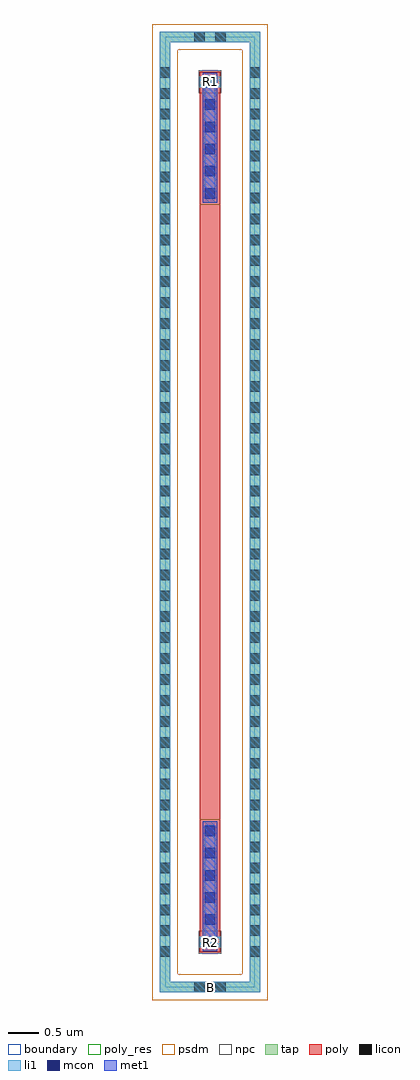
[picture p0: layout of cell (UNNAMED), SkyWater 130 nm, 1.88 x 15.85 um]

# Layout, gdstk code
import gdstk
lib = gdstk.Library(unit=1e-6, precision=1e-09)
def R(c, l, rs):  # rectangles x0, y0, x1, y1
    for r in rs: c.add(gdstk.rectangle(r[:2], r[2:], *l))
def A(c, l, x, y, w, h, nx, ny, dx, dy):  # array of equal rectangles
    R(c, l, [(x+i*dx, y+j*dy, x+i*dx+w, y+j*dy+h) for i in range(nx) for j in range(ny)])
tap = (65, 44)
poly_res = (66, 13)
poly = (66, 20)
licon = (66, 44)
li1 = (67, 20)
mcon = (67, 44)
met1 = (68, 20)
psdm = (94, 20)
npc = (95, 20)
boundary = (235, 4)

c__unnamed_ = lib.new_cell('(UNNAMED)')
R(c__unnamed_, tap, [(-0.815,-7.8,0.815,-7.63), (-0.815,-7.63,-0.645,7.63), (0.645,-7.63,0.815,7.63), (-0.815,7.63,0.815,7.8)])
R(c__unnamed_, poly_res, [(-0.165,-5,0.165,5)])
R(c__unnamed_, poly, [(-0.165,-7.15,0.165,7.15)])
A(c__unnamed_, licon, -0.815, -7.225, 0.17, 0.17, 1, 43, 0, 0.34)
A(c__unnamed_, licon, 0.645, -7.225, 0.17, 0.17, 1, 43, 0, 0.34)
R(c__unnamed_, licon, [(-0.255,-7.8,-0.085,-7.63), (0.085,-7.8,0.255,-7.63), (-0.085,-7.07,0.085,-6.9), (-0.085,6.9,0.085,7.07), (-0.255,7.63,-0.085,7.8), (0.085,7.63,0.255,7.8)])
R(c__unnamed_, li1, [(-0.815,-7.8,0.815,-7.63), (-0.815,-7.63,-0.645,7.63), (0.645,-7.63,0.815,7.63), (-0.165,-7.07,0.165,-6.9), (-0.085,-6.9,0.085,-5.085), (-0.085,5.085,0.085,6.9), (-0.165,6.9,0.165,7.07), (-0.815,7.63,0.815,7.8)])
A(c__unnamed_, mcon, -0.085, -7.065, 0.17, 0.17, 1, 6, 0, 0.36)
A(c__unnamed_, mcon, -0.085, 5.09, 0.17, 0.17, 1, 6, 0, 0.36)
R(c__unnamed_, met1, [(-0.115,-7.13,0.115,-5.025), (-0.115,5.025,0.115,7.13)])
R(c__unnamed_, psdm, [(-0.94,-7.925,0.94,-7.505), (-0.94,-7.505,-0.52,7.505), (0.52,-7.505,0.94,7.505), (-0.94,7.505,0.94,7.925)])
R(c__unnamed_, npc, [(-0.185,-7.17,0.185,-6.8), (-0.185,6.8,0.185,7.17)])
R(c__unnamed_, boundary, [(-0.73,-7.715,0.73,7.715)])
c__unnamed_.add(gdstk.Label('B', (0,-7.715), layer=67, texttype=5))
c__unnamed_.add(gdstk.Label('R1', (0,6.985), layer=67, texttype=5))
c__unnamed_.add(gdstk.Label('R2', (0,-6.985), layer=67, texttype=5))

lib.write_gds('_UNNAMED_.gds')
